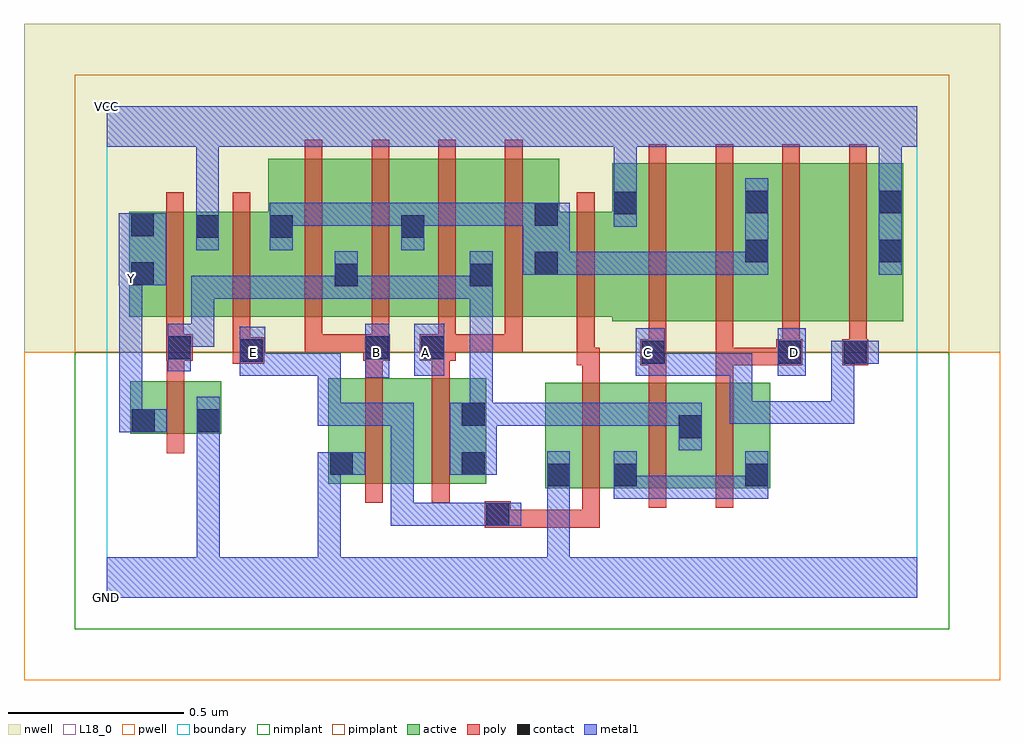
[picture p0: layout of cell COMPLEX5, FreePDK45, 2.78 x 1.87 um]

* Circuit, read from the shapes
.subckt COMPLEX5 A B C D E GND VCC Y
M1 GND n1 Y VSUBS nfet w=0.15u l=0.05u
M2 n2 B GND VSUBS nfet w=0.3u l=0.05u
M3 n1 A n2 VSUBS nfet w=0.3u l=0.05u
M4 n3 E GND VSUBS nfet w=0.3u l=0.05u
M5 n1 C n3 VSUBS nfet w=0.3u l=0.05u
M6 n3 D n1 VSUBS nfet w=0.3u l=0.05u
M7 VCC n1 Y n4 pfet w=0.3u l=0.05u
M8 n5 E VCC n4 pfet w=0.3u l=0.05u m=2
M9 n1 B n5 n4 pfet w=0.45u l=0.05u m=2
M10 n1 A n5 n4 pfet w=0.45u l=0.05u m=2
M11 n6 C VCC n4 pfet w=0.45u l=0.05u
M12 n5 D n6 n4 pfet w=0.45u l=0.05u
M13 n7 D n5 n4 pfet w=0.45u l=0.05u
M14 VCC C n7 n4 pfet w=0.45u l=0.05u
.ends

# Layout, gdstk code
import gdstk
lib = gdstk.Library(unit=1e-6, precision=1e-09)
def R(c, l, rs):  # rectangles x0, y0, x1, y1
    for r in rs: c.add(gdstk.rectangle(r[:2], r[2:], *l))
def A(c, l, x, y, w, h, nx, ny, dx, dy):  # array of equal rectangles
    R(c, l, [(x+i*dx, y+j*dy, x+i*dx+w, y+j*dy+h) for i in range(nx) for j in range(ny)])
active = (1, 0)
pwell = (2, 0)
nwell = (3, 0)
nimplant = (4, 0)
pimplant = (5, 0)
poly = (9, 0)
contact = (10, 0)
metal1 = (11, 0)
L18_0 = (18, 0)
boundary = (235, 0)

complex5 = lib.new_cell('COMPLEX5')
R(complex5, active, [(1.25,0.312,1.325,0.612), (1.25,0.312,1.515,0.612), (1.44,0.312,1.7,0.612), (1.44,0.312,1.515,0.547), (1.625,0.312,1.89,0.612), (1.815,0.312,1.89,0.612), (0.632,0.325,0.857,0.625), (0.632,0.325,0.707,0.547), (0.857,0.325,1.082,0.625), (1.007,0.33,1.082,0.625), (1.625,0.345,1.7,0.525), (0.067,0.467,0.142,0.617), (0.067,0.467,0.327,0.617), (0.252,0.467,0.327,0.617), (1.44,0.787,1.665,1.237), (1.665,0.787,1.89,1.237), (1.815,0.787,2.045,1.237), (2.045,0.787,2.27,1.237), (2.195,0.787,2.27,1.205), (0.065,0.8,0.14,1.1), (0.065,0.8,0.325,1.1), (0.25,0.8,0.535,1.1), (0.46,0.8,0.535,1.2), (0.46,0.8,0.72,1.25), (0.645,0.8,0.91,1.25), (0.835,0.8,1.105,1.25), (1.03,0.8,1.29,1.25), (1.215,0.8,1.515,1.1), (1.215,0.8,1.29,1.2), (0.645,0.857,0.72,1.07), (0.835,0.857,0.91,1.2), (1.03,0.857,1.105,1.07), (1.815,0.857,1.89,1.2), (0.25,1.007,0.325,1.1), (1.44,1.007,1.515,1.162)])
R(complex5, pwell, [(-0.235,-0.235,2.545,0.7)])
R(complex5, nwell, [(-0.235,0.7,2.545,1.635)])
R(complex5, nimplant, [(-0.09,-0.09,2.4,0.7)])
R(complex5, pimplant, [(-0.09,0.7,2.4,1.49)])
A(complex5, poly, 1.355, 0.257, 0.05, 0.41, 3, 1, 0.19, 0)
A(complex5, poly, 1.355, 0.617, 0.05, 0.095, 3, 1, 0.19, 0)
A(complex5, poly, 0.565, 0.7, 0.05, 0.095, 4, 1, 0.19, 0)
A(complex5, poly, 1.545, 0.732, 0.05, 0.56, 4, 1, 0.19, 0)
A(complex5, poly, 0.565, 0.745, 0.05, 0.56, 4, 1, 0.19, 0)
R(complex5, poly, [(1.077,0.2,1.152,0.275), (1.102,0.2,1.152,0.25), (1.102,0.2,1.152,0.25), (1.102,0.2,1.405,0.25), (1.355,0.2,1.405,0.25), (1.355,0.2,1.405,0.25), (1.355,0.2,1.405,0.25), (1.355,0.2,1.405,0.307), (0.737,0.27,0.787,0.68), (0.927,0.27,0.977,0.68), (0.172,0.412,0.222,0.672), (0.172,0.622,0.222,0.725), (0.737,0.63,0.787,0.725), (0.927,0.63,0.977,0.725), (1.34,0.662,1.39,0.795), (1.34,0.662,1.405,0.712), (1.52,0.662,1.595,0.737), (1.735,0.662,1.957,0.712), (1.735,0.662,1.785,0.712), (1.735,0.662,1.785,0.712), (1.735,0.662,1.785,0.712), (1.735,0.662,1.785,0.782), (1.907,0.662,1.982,0.737), (2.095,0.662,2.17,0.737), (0.36,0.667,0.45,0.742), (0.17,0.675,0.245,0.75), (0.732,0.675,0.807,0.75), (0.892,0.675,0.995,0.75), (1.545,0.687,1.595,0.782), (1.925,0.687,1.975,0.782), (2.115,0.687,2.165,0.782), (0.36,0.692,0.41,0.795), (0.17,0.7,0.22,0.795), (0.565,0.7,0.615,0.75), (0.565,0.7,0.615,0.75), (0.565,0.7,0.615,0.75), (0.565,0.7,0.782,0.75), (0.945,0.7,0.995,0.75), (0.945,0.7,0.995,0.75), (0.945,0.7,1.185,0.75), (1.135,0.7,1.185,0.75), (0.17,0.745,0.22,1.155), (0.36,0.745,0.41,1.155), (1.34,0.745,1.39,1.155)])
R(complex5, contact, [(1.082,0.205,1.147,0.27), (1.255,0.317,1.32,0.382), (1.445,0.317,1.51,0.382), (1.82,0.317,1.885,0.382), (0.637,0.35,0.702,0.415), (1.012,0.35,1.077,0.415), (1.63,0.455,1.695,0.52), (0.072,0.472,0.137,0.537), (0.257,0.472,0.322,0.537), (1.012,0.49,1.077,0.555), (1.525,0.667,1.59,0.732), (1.912,0.667,1.977,0.732), (2.1,0.667,2.165,0.732), (0.38,0.672,0.445,0.737), (0.175,0.68,0.24,0.745), (0.737,0.68,0.802,0.745), (0.897,0.68,0.962,0.745), (0.65,0.887,0.715,0.952), (1.035,0.887,1.1,0.952), (0.07,0.89,0.135,0.955), (1.22,0.92,1.285,0.985), (1.82,0.955,1.885,1.02), (2.2,0.955,2.265,1.02), (0.255,1.025,0.32,1.09), (0.465,1.025,0.53,1.09), (0.84,1.025,0.905,1.09), (0.07,1.03,0.135,1.095), (1.22,1.06,1.285,1.125), (1.445,1.092,1.51,1.157), (1.82,1.095,1.885,1.16), (2.2,1.095,2.265,1.16)])
R(complex5, metal1, [(0,0,2.31,0.115), (0.257,0.05,0.322,0.115), (0.257,0.05,0.322,0.115), (0.257,0.05,0.322,0.115), (0.257,0.05,0.322,0.115), (0.257,0.05,0.322,0.502), (0.602,0.05,0.667,0.115), (0.602,0.05,0.667,0.115), (0.602,0.05,0.667,0.115), (0.602,0.05,0.667,0.115), (0.602,0.05,0.667,0.415), (1.255,0.05,1.32,0.115), (1.255,0.05,1.32,0.115), (1.255,0.05,1.32,0.347), (0.81,0.205,0.875,0.27), (0.81,0.205,0.875,0.27), (0.81,0.205,0.875,0.27), (0.81,0.205,1.112,0.27), (0.81,0.205,0.875,0.555), (1.047,0.205,1.112,0.27), (1.047,0.205,1.112,0.27), (1.047,0.205,1.182,0.27), (1.255,0.282,1.32,0.347), (1.255,0.282,1.32,0.347), (1.255,0.282,1.32,0.417), (1.445,0.282,1.51,0.347), (1.445,0.282,1.51,0.347), (1.445,0.282,1.51,0.417), (1.445,0.282,1.695,0.347), (1.63,0.282,1.695,0.347), (1.63,0.282,1.84,0.347), (1.775,0.282,1.84,0.347), (1.775,0.282,1.885,0.347), (1.82,0.282,1.885,0.417), (0.602,0.35,0.737,0.415), (0.977,0.35,1.112,0.555), (1.63,0.42,1.695,0.555), (0.257,0.437,0.322,0.502), (0.257,0.437,0.322,0.502), (0.257,0.437,0.322,0.572), (0.037,0.472,0.172,0.537), (0.037,0.472,0.102,0.907), (0.602,0.49,0.667,0.555), (0.602,0.49,0.737,0.555), (0.602,0.49,0.667,0.697), (0.672,0.49,0.737,0.555), (0.672,0.49,0.875,0.555), (0.81,0.49,0.875,0.555), (0.81,0.49,0.875,0.555), (0.81,0.49,0.875,0.555), (1.035,0.49,1.1,0.917), (1.047,0.49,1.112,0.555), (1.047,0.49,1.112,0.555), (1.047,0.49,1.372,0.555), (1.307,0.49,1.372,0.555), (1.307,0.49,1.372,0.555), (1.307,0.49,1.372,0.555), (1.307,0.49,1.557,0.555), (1.492,0.49,1.557,0.555), (1.492,0.49,1.557,0.555), (1.492,0.49,1.557,0.555), (1.492,0.49,1.695,0.555), (1.775,0.495,1.84,0.56), (1.775,0.495,1.977,0.56), (1.775,0.495,1.84,0.697), (1.912,0.495,1.977,0.56), (1.912,0.495,2.13,0.56), (2.065,0.495,2.13,0.56), (2.065,0.495,2.13,0.732), (0.737,0.627,0.805,0.78), (0.38,0.632,0.452,0.772), (0.387,0.632,0.452,0.697), (0.387,0.632,0.452,0.697), (0.387,0.632,0.6,0.697), (0.535,0.632,0.6,0.697), (0.535,0.632,0.667,0.697), (0.602,0.632,0.667,0.697), (0.877,0.632,0.962,0.78), (1.507,0.632,1.59,0.767), (1.525,0.632,1.702,0.697), (1.637,0.632,1.702,0.697), (1.637,0.632,1.84,0.697), (1.775,0.632,1.84,0.697), (1.775,0.632,1.84,0.697), (1.775,0.632,1.84,0.697), (1.912,0.632,1.992,0.767), (0.175,0.645,0.24,0.78), (2.065,0.667,2.13,0.732), (2.065,0.667,2.13,0.732), (2.065,0.667,2.2,0.732), (0.175,0.715,0.307,0.78), (0.242,0.715,0.307,0.78), (0.242,0.715,0.307,0.917), (0.037,0.842,0.102,0.977), (0.242,0.852,0.307,0.917), (0.242,0.852,0.457,0.917), (0.392,0.852,0.457,0.917), (0.392,0.852,0.457,0.917), (0.392,0.852,0.457,0.917), (0.392,0.852,0.595,0.917), (0.53,0.852,0.595,0.917), (0.53,0.852,0.715,0.917), (0.65,0.852,0.715,0.987), (0.65,0.852,0.737,0.917), (0.672,0.852,0.737,0.917), (0.672,0.852,0.875,0.917), (0.81,0.852,0.875,0.917), (0.81,0.852,0.875,0.917), (0.81,0.852,0.875,0.917), (0.81,0.852,1.1,0.917), (1.035,0.852,1.1,0.917), (1.035,0.852,1.1,0.917), (1.035,0.852,1.1,0.987), (0.035,0.89,0.17,1.095), (0.037,0.912,0.102,0.977), (1.185,0.92,1.32,1.125), (1.255,0.92,1.32,0.985), (1.255,0.92,1.32,0.985), (1.255,0.92,1.32,0.985), (1.255,0.92,1.32,0.985), (1.255,0.92,1.557,0.985), (1.492,0.92,1.557,0.985), (1.492,0.92,1.557,0.985), (1.492,0.92,1.557,0.985), (1.492,0.92,1.702,0.985), (1.637,0.92,1.702,0.985), (1.637,0.92,1.727,0.985), (1.662,0.92,1.727,0.985), (1.662,0.92,1.885,0.985), (1.82,0.92,1.885,1.195), (2.2,0.92,2.265,1.195), (0.255,0.99,0.32,1.125), (0.465,0.99,0.53,1.125), (0.84,0.99,0.905,1.125), (1.445,1.057,1.51,1.192), (0.255,1.06,0.32,1.125), (0.255,1.06,0.32,1.125), (0.255,1.06,0.32,1.35), (0.465,1.06,0.595,1.125), (0.53,1.06,0.595,1.125), (0.53,1.06,0.737,1.125), (0.672,1.06,0.737,1.125), (0.672,1.06,0.737,1.125), (0.672,1.06,0.737,1.125), (0.672,1.06,0.905,1.125), (0.84,1.06,0.905,1.125), (0.84,1.06,0.905,1.125), (0.84,1.06,1.112,1.125), (1.047,1.06,1.112,1.125), (1.047,1.06,1.112,1.125), (1.047,1.06,1.112,1.125), (1.047,1.06,1.25,1.125), (1.445,1.127,1.51,1.35), (2.2,1.13,2.265,1.35), (0,1.285,2.31,1.4)])
R(complex5, L18_0, [(0,0,2.31,0.115), (0.257,0.05,0.322,0.115), (0.257,0.05,0.322,0.115), (0.257,0.05,0.322,0.115), (0.257,0.05,0.322,0.115), (0.257,0.05,0.322,0.502), (0.602,0.05,0.667,0.115), (0.602,0.05,0.667,0.115), (0.602,0.05,0.667,0.115), (0.602,0.05,0.667,0.115), (0.602,0.05,0.667,0.415), (1.255,0.05,1.32,0.115), (1.255,0.05,1.32,0.115), (1.255,0.05,1.32,0.347), (0.81,0.205,0.875,0.27), (0.81,0.205,0.875,0.27), (0.81,0.205,0.875,0.27), (0.81,0.205,0.875,0.555), (0.81,0.205,1.112,0.27), (1.047,0.205,1.182,0.27), (1.047,0.205,1.112,0.27), (1.047,0.205,1.112,0.27), (1.255,0.282,1.32,0.417), (1.255,0.282,1.32,0.347), (1.255,0.282,1.32,0.347), (0.602,0.35,0.737,0.415), (0.257,0.437,0.322,0.572), (0.257,0.437,0.322,0.502), (0.257,0.437,0.322,0.502), (0.037,0.472,0.172,0.537), (0.037,0.472,0.102,0.907), (0.602,0.49,0.737,0.555), (0.602,0.49,0.667,0.555), (0.602,0.49,0.667,0.697), (0.672,0.49,0.737,0.555), (0.672,0.49,0.875,0.555), (0.81,0.49,0.875,0.555), (0.81,0.49,0.875,0.555), (0.81,0.49,0.875,0.555), (1.775,0.495,1.84,0.56), (1.775,0.495,1.84,0.697), (1.775,0.495,1.977,0.56), (1.912,0.495,1.977,0.56), (1.912,0.495,2.13,0.56), (2.065,0.495,2.13,0.56), (2.065,0.495,2.13,0.732), (0.737,0.627,0.805,0.78), (0.38,0.632,0.452,0.772), (0.387,0.632,0.452,0.697), (0.387,0.632,0.452,0.697), (0.387,0.632,0.6,0.697), (0.535,0.632,0.6,0.697), (0.535,0.632,0.667,0.697), (0.602,0.632,0.667,0.697), (0.877,0.632,0.962,0.78), (1.507,0.632,1.59,0.767), (1.525,0.632,1.702,0.697), (1.637,0.632,1.702,0.697), (1.637,0.632,1.84,0.697), (1.775,0.632,1.84,0.697), (1.775,0.632,1.84,0.697), (1.775,0.632,1.84,0.697), (1.912,0.632,1.992,0.767), (0.387,0.667,0.452,0.732), (0.737,0.667,0.802,0.732), (0.877,0.667,0.942,0.732), (1.507,0.667,1.572,0.732), (1.927,0.667,1.992,0.732), (2.065,0.667,2.2,0.732), (2.065,0.667,2.13,0.732), (2.065,0.667,2.13,0.732), (0.037,0.842,0.102,0.977), (0.037,0.877,0.102,0.942), (0.035,0.89,0.17,1.095), (0.037,0.912,0.102,0.977), (2.2,0.92,2.265,1.195), (0.255,0.99,0.32,1.125), (1.445,1.057,1.51,1.192), (0.255,1.06,0.32,1.125), (0.255,1.06,0.32,1.125), (0.255,1.06,0.32,1.35), (1.445,1.127,1.51,1.35), (2.2,1.13,2.265,1.35), (0,1.285,2.31,1.4)])
R(complex5, boundary, [(0,0,2.31,1.4)])
complex5.add(gdstk.Label('A', (0.91,0.7), layer=11, texttype=0))
complex5.add(gdstk.Label('B', (0.77,0.7), layer=11, texttype=0))
complex5.add(gdstk.Label('C', (1.54,0.7), layer=11, texttype=0))
complex5.add(gdstk.Label('D', (1.96,0.7), layer=11, texttype=0))
complex5.add(gdstk.Label('E', (0.42,0.7), layer=11, texttype=0))
complex5.add(gdstk.Label('Y', (0.07,0.91), layer=11, texttype=0))
complex5.add(gdstk.Label('VCC', (0,1.4), layer=11, texttype=0))
complex5.add(gdstk.Label('GND', (0,0), layer=11, texttype=0))

lib.write_gds('COMPLEX5.gds')
